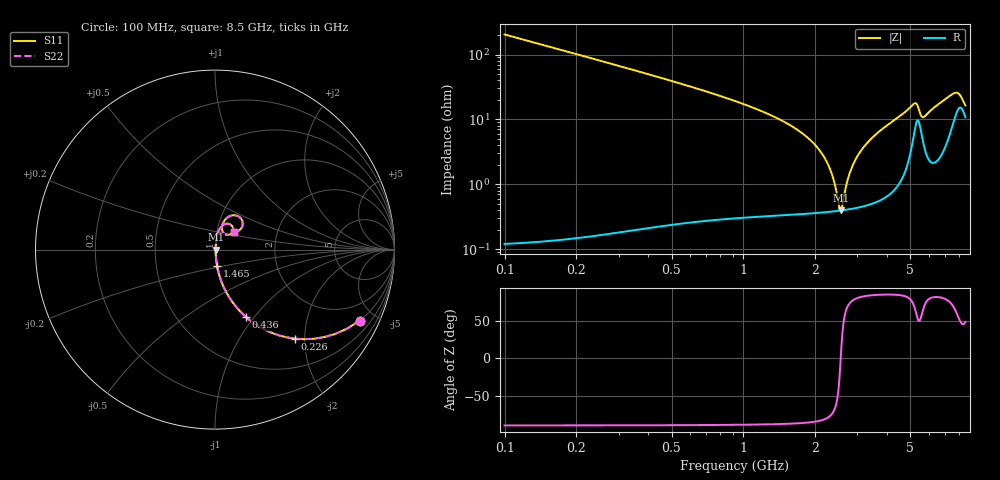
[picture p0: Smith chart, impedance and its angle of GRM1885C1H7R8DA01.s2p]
!Murata Part Number: GRM1885C1H7R8DA01
!These Parameters are Measured in Series Mode Connection
!Data Generated on Mar 30, 2021
!  o--ll--o
!Port1  Port2
!  o------o
!Operation Temp=25[degC], DC Bias Voltage=0[V]
!Freq. Start=100[MHz] Stop=9[GHz] 401[Steps]
# Hz S RI R 50
!Freq.(Hz) S11(Real) S11(Imag) S21(Real) S21(Imag) S12(Real) S12(Imag) S22(Real) S22(Imag)
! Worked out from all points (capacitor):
!   401 points, 100 MHz to 8.5 GHz, reference 50 ohm
!   read as one part in series: C = 7.81 pF near 142 MHz
!   lowest |Z| = 395 mohm at 2.557 GHz (marker M1)
!   series resonance near 2.555 GHz, so ESL is about 500 pH
!   S11 on the Smith chart (normalised r, x): 100 MHz: 1.00, -4.07; 226 MHz: 1.00, -1.79; 436 MHz: 1.00, -0.91; 1.465 GHz: 1.01, -0.19; 8.5 GHz: 1.22, +0.25
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1e8  0.8056 -0.3954  0.1944 0.3954  0.1944 0.3954  0.8056 -0.3954
2.26e8  0.4449 -0.4961  0.5551 0.4961  0.5551 0.4961  0.4449 -0.4961
4.36e8  0.1719 -0.3748  0.8281 0.3748  0.8281 0.3748  0.1719 -0.3748
7.72e8  0.0568 -0.2256  0.9432 0.2256  0.9432 0.2256  0.0568 -0.2256
1.465e9  0.012 -0.0924  0.988 0.0924  0.988 0.0924  0.012 -0.0924
1.507e9  0.0111 -0.0874  0.9889 0.0874  0.9889 0.0874  0.0111 -0.0874
1.906e9  0.00581 -0.0475  0.9942 0.0475  0.9942 0.0475  0.00581 -0.0475
2.179e9  0.00435 -0.0257  0.9957 0.0257  0.9957 0.0257  0.00435 -0.0257
2.347e9  0.00398 -0.0137  0.996 0.0137  0.996 0.0137  0.00398 -0.0137
2.515e9  0.00391 -0.00256  0.9961 0.00256  0.9961 0.00256  0.00391 -0.00256
2.557e9  0.00393 0.000122  0.9961 -0.000122  0.9961 -0.000122  0.00393 0.000122
2.599e9  0.00397 0.00277  0.996 -0.00277  0.996 -0.00277  0.00397 0.00277
2.746e9  0.00422 0.0117  0.9958 -0.0117  0.9958 -0.0117  0.00422 0.0117
2.914e9  0.00471 0.0216  0.9953 -0.0216  0.9953 -0.0216  0.00471 0.0216
3.418e9  0.00735 0.0491  0.9927 -0.0491  0.9927 -0.0491  0.00735 0.0491
4.3e9  0.0175 0.0957  0.9825 -0.0957  0.9825 -0.0957  0.0175 0.0957
5.203e9  0.0829 0.1412  0.9171 -0.1412  0.9171 -0.1412  0.0829 0.1412
5.56e9  0.0653 0.0825  0.9347 -0.0825  0.9347 -0.0825  0.0653 0.0825
5.707e9  0.0465 0.0943  0.9535 -0.0943  0.9535 -0.0943  0.0465 0.0943
7.114e9  0.0792 0.1852  0.9208 -0.1852  0.9208 -0.1852  0.0792 0.1852
7.849e9  0.1493 0.1657  0.8507 -0.1657  0.8507 -0.1657  0.1493 0.1657
8.5e9  0.1086 0.0992  0.8914 -0.0992  0.8914 -0.0992  0.1086 0.0992
